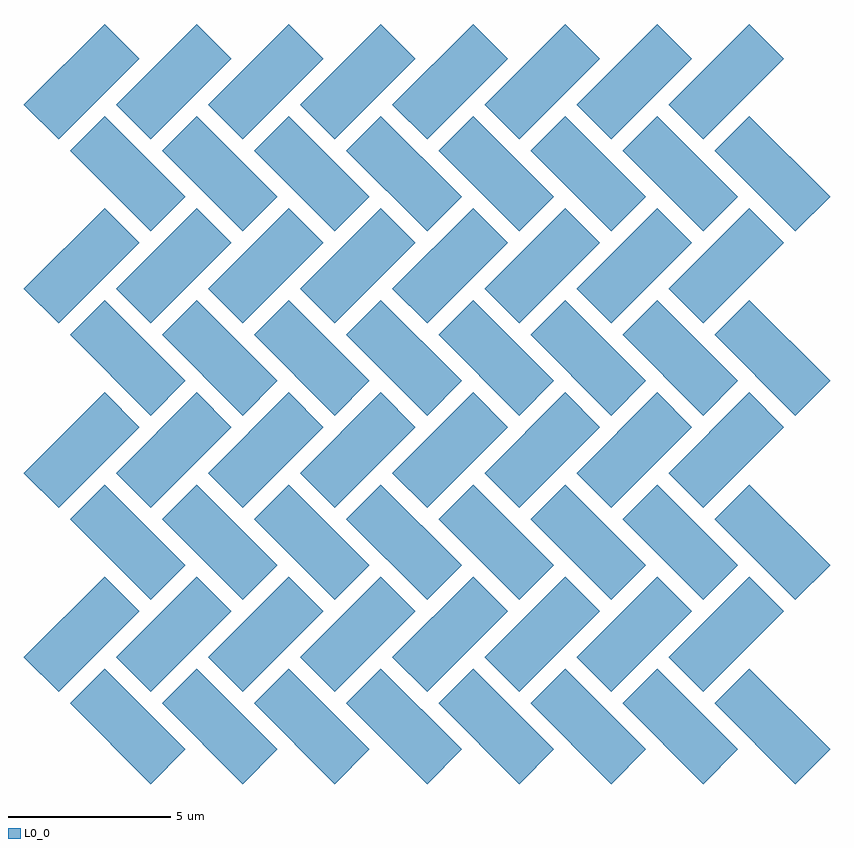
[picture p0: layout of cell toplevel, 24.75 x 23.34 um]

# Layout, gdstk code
import gdstk
lib = gdstk.Library(unit=1e-6, precision=1e-09)
def P(c, l, *ps):  # polygons
    for p in ps: c.add(gdstk.Polygon(p, *l))
L0_0 = (0, 0)

toplevel = lib.new_cell('toplevel')
P(toplevel, L0_0, [(1.414,3.889),(2.475,2.828),(0,0.354),(-1.061,1.414)],
  [(3.889,-1.414),(2.828,-2.475),(0.354,0),(1.414,1.061)],
  [(1.414,9.546),(2.475,8.485),(0,6.01),(-1.061,7.071)],
  [(3.889,4.243),(2.828,3.182),(0.354,5.657),(1.414,6.718)],
  [(1.414,15.203),(2.475,14.142),(0,11.667),(-1.061,12.728)],
  [(3.889,9.899),(2.828,8.839),(0.354,11.314),(1.414,12.374)],
  [(1.414,20.86),(2.475,19.799),(0,17.324),(-1.061,18.385)],
  [(3.889,15.556),(2.828,14.496),(0.354,16.971),(1.414,18.031)],
  [(4.243,3.889),(5.303,2.828),(2.828,0.354),(1.768,1.414)],
  [(6.718,-1.414),(5.657,-2.475),(3.182,0),(4.243,1.061)],
  [(4.243,9.546),(5.303,8.485),(2.828,6.01),(1.768,7.071)],
  [(6.718,4.243),(5.657,3.182),(3.182,5.657),(4.243,6.718)],
  [(4.243,15.203),(5.303,14.142),(2.828,11.667),(1.768,12.728)],
  [(6.718,9.899),(5.657,8.839),(3.182,11.314),(4.243,12.374)],
  [(4.243,20.86),(5.303,19.799),(2.828,17.324),(1.768,18.385)],
  [(6.718,15.556),(5.657,14.496),(3.182,16.971),(4.243,18.031)],
  [(7.071,3.889),(8.132,2.828),(5.657,0.354),(4.596,1.414)],
  [(9.546,-1.414),(8.485,-2.475),(6.01,0),(7.071,1.061)],
  [(7.071,9.546),(8.132,8.485),(5.657,6.01),(4.596,7.071)],
  [(9.546,4.243),(8.485,3.182),(6.01,5.657),(7.071,6.718)],
  [(7.071,15.203),(8.132,14.142),(5.657,11.667),(4.596,12.728)],
  [(9.546,9.899),(8.485,8.839),(6.01,11.314),(7.071,12.374)],
  [(7.071,20.86),(8.132,19.799),(5.657,17.324),(4.596,18.385)],
  [(9.546,15.556),(8.485,14.496),(6.01,16.971),(7.071,18.031)],
  [(9.899,3.889),(10.96,2.828),(8.485,0.354),(7.425,1.414)],
  [(12.374,-1.414),(11.314,-2.475),(8.839,0),(9.899,1.061)],
  [(9.899,9.546),(10.96,8.485),(8.485,6.01),(7.425,7.071)],
  [(12.374,4.243),(11.314,3.182),(8.839,5.657),(9.899,6.718)],
  [(9.899,15.203),(10.96,14.142),(8.485,11.667),(7.425,12.728)],
  [(12.374,9.899),(11.314,8.839),(8.839,11.314),(9.899,12.374)],
  [(9.899,20.86),(10.96,19.799),(8.485,17.324),(7.425,18.385)],
  [(12.374,15.556),(11.314,14.496),(8.839,16.971),(9.899,18.031)],
  [(12.728,3.889),(13.789,2.828),(11.314,0.354),(10.253,1.414)],
  [(15.203,-1.414),(14.142,-2.475),(11.667,0),(12.728,1.061)],
  [(12.728,9.546),(13.789,8.485),(11.314,6.01),(10.253,7.071)],
  [(15.203,4.243),(14.142,3.182),(11.667,5.657),(12.728,6.718)],
  [(12.728,15.203),(13.789,14.142),(11.314,11.667),(10.253,12.728)],
  [(15.203,9.899),(14.142,8.839),(11.667,11.314),(12.728,12.374)],
  [(12.728,20.86),(13.789,19.799),(11.314,17.324),(10.253,18.385)],
  [(15.203,15.556),(14.142,14.496),(11.667,16.971),(12.728,18.031)],
  [(15.556,3.889),(16.617,2.828),(14.142,0.354),(13.081,1.414)],
  [(18.031,-1.414),(16.971,-2.475),(14.496,0),(15.556,1.061)],
  [(15.556,9.546),(16.617,8.485),(14.142,6.01),(13.081,7.071)],
  [(18.031,4.243),(16.971,3.182),(14.496,5.657),(15.556,6.718)],
  [(15.556,15.203),(16.617,14.142),(14.142,11.667),(13.081,12.728)],
  [(18.031,9.899),(16.971,8.839),(14.496,11.314),(15.556,12.374)],
  [(15.556,20.86),(16.617,19.799),(14.142,17.324),(13.081,18.385)],
  [(18.031,15.556),(16.971,14.496),(14.496,16.971),(15.556,18.031)],
  [(18.385,3.889),(19.445,2.828),(16.971,0.354),(15.91,1.414)],
  [(20.86,-1.414),(19.799,-2.475),(17.324,0),(18.385,1.061)],
  [(18.385,9.546),(19.445,8.485),(16.971,6.01),(15.91,7.071)],
  [(20.86,4.243),(19.799,3.182),(17.324,5.657),(18.385,6.718)],
  [(18.385,15.203),(19.445,14.142),(16.971,11.667),(15.91,12.728)],
  [(20.86,9.899),(19.799,8.839),(17.324,11.314),(18.385,12.374)],
  [(18.385,20.86),(19.445,19.799),(16.971,17.324),(15.91,18.385)],
  [(20.86,15.556),(19.799,14.496),(17.324,16.971),(18.385,18.031)],
  [(21.213,3.889),(22.274,2.828),(19.799,0.354),(18.738,1.414)],
  [(23.688,-1.414),(22.627,-2.475),(20.153,0),(21.213,1.061)],
  [(21.213,9.546),(22.274,8.485),(19.799,6.01),(18.738,7.071)],
  [(23.688,4.243),(22.627,3.182),(20.153,5.657),(21.213,6.718)],
  [(21.213,15.203),(22.274,14.142),(19.799,11.667),(18.738,12.728)],
  [(23.688,9.899),(22.627,8.839),(20.153,11.314),(21.213,12.374)],
  [(21.213,20.86),(22.274,19.799),(19.799,17.324),(18.738,18.385)],
  [(23.688,15.556),(22.627,14.496),(20.153,16.971),(21.213,18.031)])

lib.write_gds('toplevel.gds')
